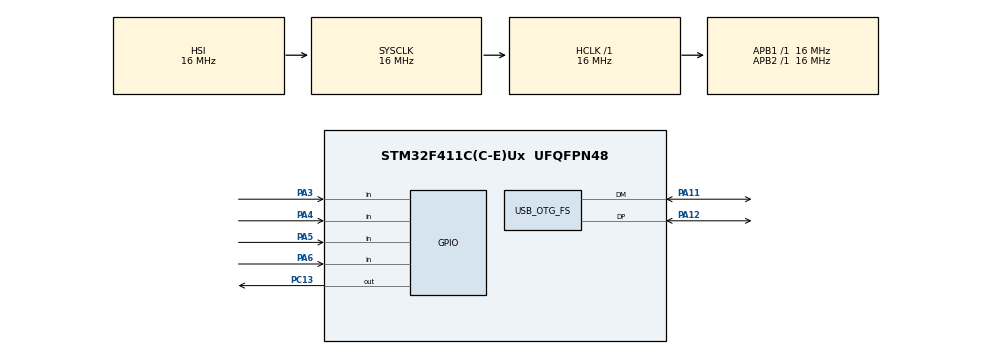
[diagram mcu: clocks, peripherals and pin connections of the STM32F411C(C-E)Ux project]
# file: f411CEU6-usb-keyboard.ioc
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Mcu.Family=STM32F4
Mcu.Name=STM32F411C(C-E)Ux
Mcu.Package=UFQFPN48
NVIC.OTG_FS_IRQn=true\:0\:0\:false\:false\:true\:false\:true\:true
NVIC.PriorityGroup=NVIC_PRIORITYGROUP_4
PA11.Mode=Device_Only
PA11.Signal=USB_OTG_FS_DM
PA12.Mode=Device_Only
PA12.Signal=USB_OTG_FS_DP
PA13.Mode=Serial_Wire
PA13.Signal=SYS_JTMS-SWDIO
PA14.Mode=Serial_Wire
PA14.Signal=SYS_JTCK-SWCLK
PA3.Signal=GPIO_Input
PA4.Signal=GPIO_Input
PA5.Signal=GPIO_Input
PA6.Signal=GPIO_Input
PC13-ANTI_TAMP.Signal=GPIO_Output
PH0\ -\ OSC_IN.Mode=HSE-External-Oscillator
PH0\ -\ OSC_IN.Signal=RCC_OSC_IN
PH1\ -\ OSC_OUT.Mode=HSE-External-Oscillator
PH1\ -\ OSC_OUT.Signal=RCC_OSC_OUT
ProjectManager.HeapSize=0x200
ProjectManager.StackSize=0x400
ProjectManager.TargetToolchain=STM32CubeIDE
RCC.48MHZClocksFreq_Value=48000000
RCC.AHBFreq_Value=16000000
RCC.APB1Freq_Value=16000000
RCC.APB1TimCLKDivider=1
RCC.APB1TimFreq_Value=16000000
RCC.APB2Freq_Value=16000000
RCC.APB2TimFreq_Value=16000000
RCC.CortexFreq_Value=16000000
RCC.HCLKFreq_Value=16000000
RCC.HSE_VALUE=25000000
RCC.HSI_VALUE=16000000
RCC.LSE_VALUE=32768
RCC.PLLM=15
RCC.PLLN=144
RCC.PLLQ=5
RCC.SYSCLKFreq_VALUE=16000000
RCC.VCOOutputFreq_Value=240000000
USB_DEVICE.CLASS_NAME_FS=HID
USB_DEVICE.PRODUCT_STRING_HID_FS=OBS Controller
USB_DEVICE.VirtualMode=Hid
USB_DEVICE.VirtualModeFS=Hid_FS
USB_OTG_FS.VirtualMode=Device_Only
VP_USB_DEVICE_VS_USB_DEVICE_HID_FS.Mode=HID_FS
board=custom

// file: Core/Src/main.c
/* USER CODE BEGIN Header */
/**
 ******************************************************************************
 * @file           : main.c
 * @brief          : Main program body
 ******************************************************************************
 * @attention
 *
 * Copyright (c) 2026 STMicroelectronics.
 * All rights reserved.
 *
 * This software is licensed under terms that can be found in the LICENSE file
 * in the root directory of this software component.
 * If no LICENSE file comes with this software, it is provided AS-IS.
 *
 ******************************************************************************
 */
/* USER CODE END Header */
#include "main.h"
#include "usb_device.h"

/* USER CODE BEGIN Includes */
#include "usbd_hid.h"
/* USER CODE END Includes */

void SystemClock_Config(void);
static void MX_GPIO_Init(void);

/* USER CODE BEGIN 0 */
extern USBD_HandleTypeDef hUsbDeviceFS;

typedef struct
{
	uint8_t MODIFIER;
	uint8_t RESEVERED;
	uint8_t KEYCODE1;
	uint8_t KEYCODE2;
	uint8_t KEYCODE3;
	uint8_t KEYCODE4;
	uint8_t KEYCODE5;
	uint8_t KEYCODE6;
} keyboardHID;
keyboardHID keyboardhid = {0,0,0,0,0,0,0,0};

void buttonActivate(uint8_t buttonName){
	keyboardhid.MODIFIER = 0x01; //ctrl
	keyboardhid.KEYCODE1 = buttonName;
	USBD_HID_SendReport(&hUsbDeviceFS, &keyboardhid, sizeof (keyboardhid));
	HAL_Delay(50);
	keyboardhid.MODIFIER = 0x00;
	keyboardhid.KEYCODE1 = 0x00;
	USBD_HID_SendReport(&hUsbDeviceFS, &keyboardhid, sizeof (keyboardhid));
	HAL_Delay(500);
	return 0;
}

/* USER CODE END 0 */

int main(void)
{

	/* MCU Configuration--------------------------------------------------------*/

	/* Reset of all peripherals, Initializes the Flash interface and the Systick. */
	HAL_Init();

	/* Configure the system clock */
	SystemClock_Config();

	/* Initialize all configured peripherals */
	MX_GPIO_Init();
	MX_USB_DEVICE_Init();
	/* USER CODE BEGIN 2 */
	uint8_t button_PauseStart = 0;
	uint8_t button_Stop = 0;
	uint8_t button_TimerDown = 0;
	uint8_t button_TimerUp = 0;

	HAL_GPIO_WritePin(GPIOC,GPIO_PIN_13, GPIO_PIN_RESET);
	HAL_Delay(1000);
	HAL_GPIO_WritePin(GPIOC,GPIO_PIN_13, GPIO_PIN_SET);
	HAL_Delay(1000);
	HAL_GPIO_WritePin(GPIOC,GPIO_PIN_13, GPIO_PIN_RESET);
	HAL_Delay(1000);
	HAL_GPIO_WritePin(GPIOC,GPIO_PIN_13, GPIO_PIN_SET);
	/* USER CODE END 2 */

	/* Infinite loop */
	while (1)
	{
		/* USER CODE BEGIN 3 */
		/* Var for shortcuts to pause(1)/start(0) timer */
		button_PauseStart = HAL_GPIO_ReadPin(GPIOA, GPIO_PIN_4);
		button_Stop = HAL_GPIO_ReadPin(GPIOA, GPIO_PIN_3);
		button_TimerDown = HAL_GPIO_ReadPin(GPIOA, GPIO_PIN_6);
		button_TimerUp = HAL_GPIO_ReadPin(GPIOA, GPIO_PIN_5);

		/* https://usb.org/sites/default/files/hut1_7.pdf: (Page 89), Keyboard/Keypad Page (0x07) */
		if (button_PauseStart == 1){
			buttonActivate(0x18); //U
			HAL_GPIO_WritePin(GPIOC,GPIO_PIN_13, GPIO_PIN_RESET);
			HAL_Delay(200);
			HAL_GPIO_WritePin(GPIOC,GPIO_PIN_13, GPIO_PIN_SET);
		}

		else if (button_Stop == 1){
			buttonActivate(0x0A); //G
			HAL_GPIO_WritePin(GPIOC,GPIO_PIN_13, GPIO_PIN_RESET);
			HAL_Delay(200);
			HAL_GPIO_WritePin(GPIOC,GPIO_PIN_13, GPIO_PIN_SET);
		}

		else if (button_TimerDown == 1){
			buttonActivate(0x0D); //J
			HAL_GPIO_WritePin(GPIOC,GPIO_PIN_13, GPIO_PIN_RESET);
			HAL_Delay(200);
			HAL_GPIO_WritePin(GPIOC,GPIO_PIN_13, GPIO_PIN_SET);
		}

		else if (button_TimerUp == 1){
			buttonActivate(0x09); //F
			HAL_GPIO_WritePin(GPIOC,GPIO_PIN_13, GPIO_PIN_RESET);
			HAL_Delay(200);
			HAL_GPIO_WritePin(GPIOC,GPIO_PIN_13, GPIO_PIN_SET);
		}
		/* USER CODE END 3 */
	}
}

void SystemClock_Config(void)
{
	RCC_OscInitTypeDef RCC_OscInitStruct = {0};
	RCC_ClkInitTypeDef RCC_ClkInitStruct = {0};

	/** Configure the main internal regulator output voltage
	 */
	__HAL_RCC_PWR_CLK_ENABLE();
	__HAL_PWR_VOLTAGESCALING_CONFIG(PWR_REGULATOR_VOLTAGE_SCALE1);

	/** Initializes the RCC Oscillators according to the specified parameters
	 * in the RCC_OscInitTypeDef structure.
	 */
	RCC_OscInitStruct.OscillatorType = RCC_OSCILLATORTYPE_HSI|RCC_OSCILLATORTYPE_HSE;
	RCC_OscInitStruct.HSEState = RCC_HSE_ON;
	RCC_OscInitStruct.HSIState = RCC_HSI_ON;
	RCC_OscInitStruct.HSICalibrationValue = RCC_HSICALIBRATION_DEFAULT;
	RCC_OscInitStruct.PLL.PLLState = RCC_PLL_ON;
	RCC_OscInitStruct.PLL.PLLSource = RCC_PLLSOURCE_HSE;
	RCC_OscInitStruct.PLL.PLLM = 15;
	RCC_OscInitStruct.PLL.PLLN = 144;
	RCC_OscInitStruct.PLL.PLLP = RCC_PLLP_DIV2;
	RCC_OscInitStruct.PLL.PLLQ = 5;
	if (HAL_RCC_OscConfig(&RCC_OscInitStruct) != HAL_OK)
	{
		Error_Handler();
	}

	/** Initializes the CPU, AHB and APB buses clocks
	 */
	RCC_ClkInitStruct.ClockType = RCC_CLOCKTYPE_HCLK|RCC_CLOCKTYPE_SYSCLK
			|RCC_CLOCKTYPE_PCLK1|RCC_CLOCKTYPE_PCLK2;
	RCC_ClkInitStruct.SYSCLKSource = RCC_SYSCLKSOURCE_HSI;
	RCC_ClkInitStruct.AHBCLKDivider = RCC_SYSCLK_DIV1;
	RCC_ClkInitStruct.APB1CLKDivider = RCC_HCLK_DIV1;
	RCC_ClkInitStruct.APB2CLKDivider = RCC_HCLK_DIV1;

	if (HAL_RCC_ClockConfig(&RCC_ClkInitStruct, FLASH_LATENCY_0) != HAL_OK)
	{
		Error_Handler();
	}
}

static void MX_GPIO_Init(void)
{
	GPIO_InitTypeDef GPIO_InitStruct = {0};

	/* GPIO Ports Clock Enable */
	__HAL_RCC_GPIOC_CLK_ENABLE();
	__HAL_RCC_GPIOH_CLK_ENABLE();
	__HAL_RCC_GPIOA_CLK_ENABLE();

	/*Configure GPIO pin Output Level */
	HAL_GPIO_WritePin(GPIOC, GPIO_PIN_13, GPIO_PIN_RESET);

	/*Configure GPIO pin : PC13 */
	GPIO_InitStruct.Pin = GPIO_PIN_13;
	GPIO_InitStruct.Mode = GPIO_MODE_OUTPUT_PP;
	GPIO_InitStruct.Pull = GPIO_NOPULL;
	GPIO_InitStruct.Speed = GPIO_SPEED_FREQ_LOW;
	HAL_GPIO_Init(GPIOC, &GPIO_InitStruct);

	/*Configure GPIO pins : PA3 PA4 PA5 PA6 */
	GPIO_InitStruct.Pin = GPIO_PIN_3|GPIO_PIN_4|GPIO_PIN_5|GPIO_PIN_6;
	GPIO_InitStruct.Mode = GPIO_MODE_INPUT;
	GPIO_InitStruct.Pull = GPIO_NOPULL;
	HAL_GPIO_Init(GPIOA, &GPIO_InitStruct);

}

void Error_Handler(void)
{
	__disable_irq();
	while (1)
	{
	}
}
